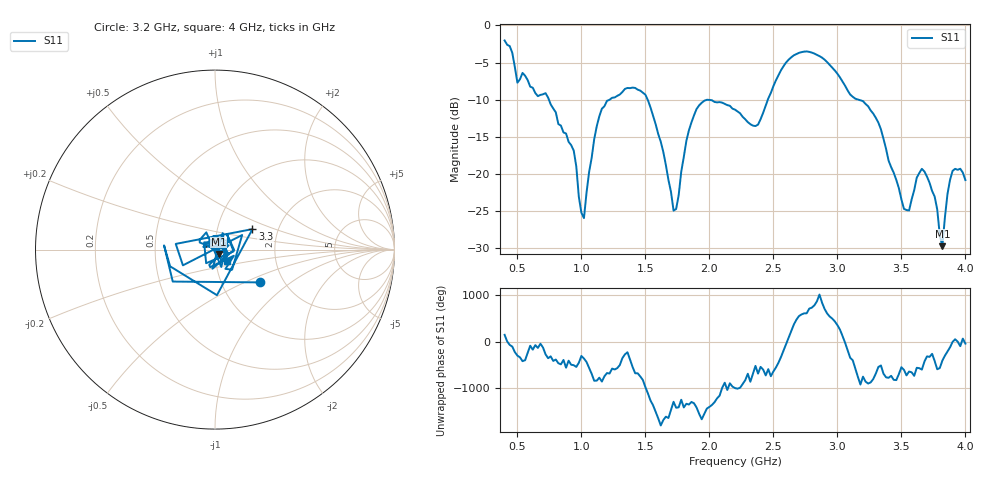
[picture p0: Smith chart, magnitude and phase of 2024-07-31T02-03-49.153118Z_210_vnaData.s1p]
!Created with skrf (http://scikit-rf.org).
# Hz S RI R 50.0
!freq ReS11 ImS11
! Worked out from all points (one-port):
!   181 points, 400 MHz to 4 GHz, reference 50 ohm
!   lowest |S11| = -29.8 dB at 3.82 GHz (marker M1), VSWR 1.07, Z = 52.1 - j2.56 ohm
!   |S11| at or under -10 dB: 745.6 MHz to 1.222 GHz (476.8 MHz wide, 48.5 % of centre); 1.517 GHz to 2.457 GHz (939.9 MHz wide, 47.3 % of centre); 3.161 GHz to end of sweep
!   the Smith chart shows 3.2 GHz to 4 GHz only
!   S11 on the Smith chart (normalised r, x): 3.2 GHz: 1.51, -0.61; 3.3 GHz: 1.48, +0.36; 4 GHz: 1.13, -0.14
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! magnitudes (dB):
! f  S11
! 400 MHz  -2.0
! 500 MHz  -7.7
! 720 MHz  -9.1
! 860 MHz  -14.4
! 940 MHz  -16.9
! 1.02 GHz  -26.0
! 1.14 GHz  -12.3
! 1.3 GHz  -9.3
! 1.5 GHz  -9.4
! 1.64 GHz  -17.1
! 1.72 GHz  -25.0
! 1.76 GHz  -22.9
! 1.82 GHz  -15.6
! 1.9 GHz  -11.3
! 2.2 GHz  -11.4
! 2.38 GHz  -13.4
! 2.66 GHz  -4.0
! 2.88 GHz  -4.3
! 3.1 GHz  -9.3
! 3.2 GHz  -10.2
! 3.3 GHz  -12.5
! 3.56 GHz  -25.0
! 3.68 GHz  -19.7
! 3.76 GHz  -23.1
! 3.82 GHz  -29.8
! 3.86 GHz  -22.8
! 3.9 GHz  -19.6
! 4 GHz  -20.9
